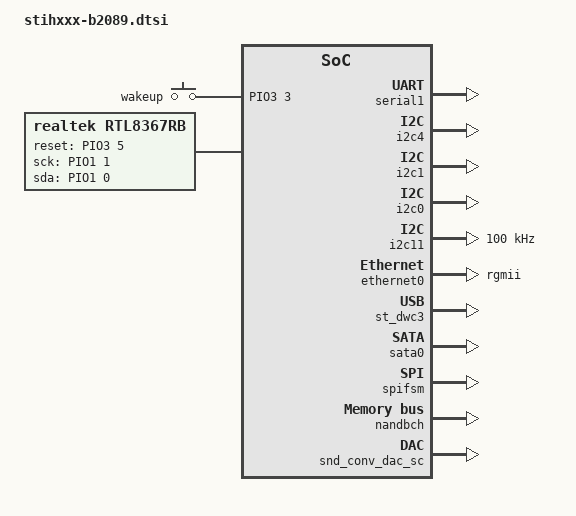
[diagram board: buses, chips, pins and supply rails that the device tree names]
/*
 * Copyright (C) 2014 STMicroelectronics (R&D) Limited.
 * Author: Giuseppe Cavallaro <peppe.cavallaro@st.com>
 *
 * This program is free software; you can redistribute it and/or modify
 * it under the terms of the GNU General Public License version 2 as
 * published by the Free Software Foundation.
 */
#include <dt-bindings/input/input.h>
/ {
	chosen {
		bootargs = "console=ttyAS0,115200";
		linux,stdout-path = &serial1;
	};

	aliases {
		ttyAS0 = &serial1;
		ethernet0 = &ethernet0;
	};

	soc {
		/* COMMS_ASC1 - UART1 */
		serial1: serial@9831000 {
			status = "okay";
		};

		rc: rc@09518000 {
			status = "okay";
		};

		/* SSC4 to AUDIO */
		i2c4: i2c@9844000 {
			status = "okay";
		};

		/* SSC1 to MediaLB/ADC */
		i2c1: i2c@9841000 {
			status = "okay";
		};

		/* SSC0 to NIM-A */
		i2c0: i2c@9840000 {
			status = "okay";
		};

		/* SSC11 to HDMI */
		i2c11: i2c@9541000 {
			status = "okay";
			/* HDMI V1.3a supports Standard mode only */
			clock-frequency = <100000>;
			i2c-min-scl-pulse-width-us = <0>;
			i2c-min-sda-pulse-width-us = <5>;
		};

		lpm:stm-lpm@9400000 {
			status = "okay";
			gpios = <&PIO3 2 0>;
			st,lmi-ret-gpio = <&PIO5 2 0>;
		};

		gpio_keys {
			compatible = "gpio-keys";
			#address-cells = <1>;
			#size-cells = <0>;
			button@1 {
				label = "wakeup";
				linux,code = <41>;
				gpios = <&PIO3 3 0>;
				gpio-key,wakeup;
			};
		};

		ethernet0: dwmac@9630000 {
			status = "okay";
			phy-mode = "rgmii";
			st,tx-retime-src = "clkgen";
			/* In case of using a PHY daughter board (instead
			 * of the embedded switch) remove fixed link.
			 *
			 * pinctrl-0 = <&pinctrl_rgmii1 &pinctrl_rgmii1_mdio
			 *              &pinctrl_rgmii1_mdint>;
			 * manage: snps,reset-gpio snps,reset-active-low
			 *	   snps,reset-delays-us
			 */
			fixed-link = <1 100 0 0>;
			snps,phy-addr = <0x1>;
		};

		/* Disable it in case of using a PHY daughter board */

		/* CLK_ETH_PHY has to reduced to 25MHz and speed fixed to 100
		 * for stability problems.
		 */
		realtek: rtl8367rb {
			compatible = "realtek,rtl8367rb";
			status = "okay";

			gpio-reset = <&PIO3 5 0>;
			gpio-sck = <&PIO1 1 0>;
			gpio-sda = <&PIO1 0 0>;

			rtl8367rb,extif1;
			rtl8367rb,extif1-mode = <1>;	// RGMII
			rtl8367rb,extif1-txdelay = <0>;
			rtl8367rb,extif1-rxdelay = <1>;
			rtl8367rb,extif1-force_mode = <1>;
			rtl8367rb,extif1-txpause = <2>;
			rtl8367rb,extif1-rxpause = <2>;
			rtl8367rb,extif1-link = <1>;
			rtl8367rb,extif1-duplex = <1>;
			rtl8367rb,extif1-speed = <1>; // 2 Giga speed

			rtl8367rb,extif2;
			rtl8367rb,extif2-mode = <1>;	// RGMII
			rtl8367rb,extif2-txdelay = <1>;
			rtl8367rb,extif2-rxdelay = <1>;
			rtl8367rb,extif2-force_mode = <1>;
			rtl8367rb,extif2-txpause = <1>;
			rtl8367rb,extif2-rxpause = <1>;
			rtl8367rb,extif2-link = <1>;
			rtl8367rb,extif2-duplex = <1>;
			rtl8367rb,extif2-speed = <1>; // 2 Giga speed
		};

		usb3_phy: usb3_phy@0 {
			st,auto-calibration;
		};

		st_dwc3: dwc3@8f94000 {
			status = "okay";
		};

		/* select internal clock for miphy0 (sata) */
		miphy28lp_phy0: miphy28lp@0 {
			st,sata_gen = "gen3";
			/* set tx impedance compensation */
			st,tx-impedance-comp;
			status = "okay";
		};

		sata0: sata@9b20000 {
			status = "okay";
		};

		keyscan: keyscan@94b0000 {
			keypad,num-rows = <4>;
			keypad,num-columns = <4>;
			st,debounce_us = <5000>;
			linux,keymap = < /* in0	in1	in2    in3 */
					KEY_F13 KEY_F9  KEY_F5 KEY_F1	/* out0 */
					KEY_F14 KEY_F10 KEY_F6 KEY_F2	/* out1 */
					KEY_F15 KEY_F11 KEY_F7 KEY_F3	/* out2 */
					KEY_F16 KEY_F12 KEY_F8 KEY_F4 >;/* out3 */
		};

		spifsm: spifsm@9022000 {
			status = "okay";
			flash-name = "mx25l25635f";
			partitions = <&b2089_fsm_partitions>;

			b2089_fsm_partitions: partitions-b2089 {
				#address-cells = <1>;
				#size-cells = <1>;
				partition@0 {
					label = "boot";
					/* 20M */
					reg = <0x00000000 0x01400000>;
				};
				partition@1400000 {
					label = "rest";
					/* 12M */
					reg = <0x01400000 0x00c00000>;
				};
			};
		};

		nandbch: nand-bch {
			status = "okay";
			st,nand-banks = <&nand_banks>;
		};

		nand_banks: nand-banks {
			bank0 {
				/* NAND_BBT_USE_FLASH (4Gbit) */
				nand-on-flash-bbt;
				nand-no-autoincr;
				st,nand-cs = <0>;
				st,nand-timing-data = <&nand_timing0>;
				partitions {
					#address-cells = <1>;
					#size-cells = <1>;
					partition@0{
						label = "NAND Flash 1";
						reg = <0x00000000 0x1e000000>;
					};
				};
			};
		};

		nand_timing0: nand-timing {
			sig-setup = <10>;
			sig-hold = <10>;
			CE-deassert = <0>;
			WE-to-RBn = <100>;
			wr-on = <10>;
			wr-off = <30>;
			rd-on = <10>;
			rd-off = <30>;
			chip-delay = <30>;		/* delay in us */
		};

		/* Enable when use the B2143 eMMC daughter board. */
		mmc0: sdhci@09060000 {
			non-removable;
		};

		/* Uniperipheral*/
		snd_uni_player0: snd-uni-player@0 {
			status = "okay";
		};

		snd_uni_player1: snd-uni-player@1 {
			status = "okay";
		};

		snd_uni_player2: snd-uni-player@2 {
			status = "okay";
		};

		snd_uni_player3: snd-uni-player@3 {
			status = "okay";
		};

		snd_uni_reader0: snd-uni-reader@0 {
			status = "okay";
		};

		snd_uni_reader1: snd-uni-reader@1 {
			status = "okay";
		};

		snd_conv_dac_sc: snd-conv-dac-sc {
			status = "okay";
		};

		snd_conv_biphase: snd-conv-biphase {
			status = "okay";
		};
	};
};
